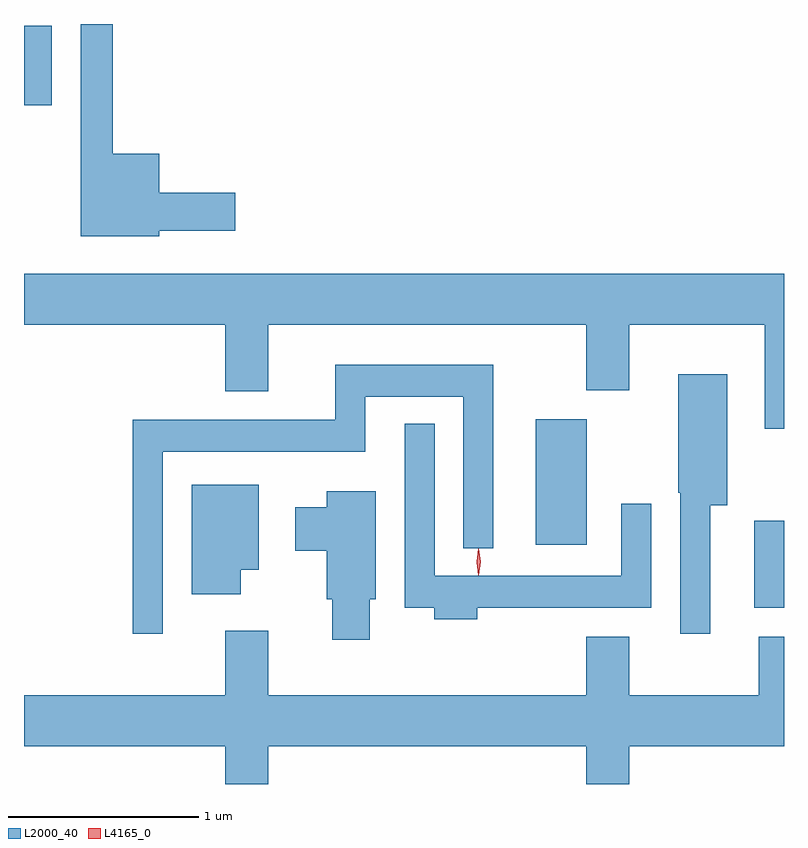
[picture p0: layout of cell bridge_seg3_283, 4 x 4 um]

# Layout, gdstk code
import gdstk
lib = gdstk.Library(unit=1e-6, precision=1e-09)
def R(c, l, rs):  # rectangles x0, y0, x1, y1
    for r in rs: c.add(gdstk.rectangle(r[:2], r[2:], *l))
def P(c, l, *ps):  # polygons
    for p in ps: c.add(gdstk.Polygon(p, *l))
L2000_40 = (2000, 40)
L4165_0 = (4165, 0)

bridge_seg3_283 = lib.new_cell('bridge_seg3_283')
R(bridge_seg3_283, L2000_40, [(1072.216,1122.306,1072.373,1122.764), (1071.066,1122.636,1071.334,1123.299), (1068.373,1124.951,1068.519,1125.369)])
P(bridge_seg3_283, L2000_40, [(1069.084,1124.291),(1069.484,1124.291),(1069.484,1124.489),(1069.084,1124.489),(1069.084,1124.694),(1068.839,1124.694),(1068.839,1125.378),(1068.671,1125.378),(1068.671,1124.261),(1069.084,1124.261)],
  [(1072.373,1124.064),(1068.373,1124.064),(1068.373,1123.796),(1069.431,1123.796),(1069.431,1123.446),(1069.659,1123.446),(1069.659,1123.796),(1071.331,1123.796),(1071.331,1123.451),(1071.559,1123.451),(1071.559,1123.796),(1072.271,1123.796),(1072.271,1123.248),(1072.373,1123.248)],
  [(1069.104,1123.126),(1070.169,1123.126),(1070.169,1123.416),(1070.686,1123.416),(1070.686,1122.618),(1070.844,1122.618),(1070.844,1123.584),(1070.011,1123.584),(1070.011,1123.294),(1068.946,1123.294),(1068.946,1122.168),(1069.104,1122.168)],
  [(1071.984,1122.846),(1072.074,1122.846),(1072.074,1123.534),(1071.816,1123.534),(1071.816,1122.91),(1071.826,1122.91),(1071.826,1122.168),(1071.984,1122.168)],
  [(1070.759,1122.306),(1071.674,1122.306),(1071.674,1122.853),(1071.516,1122.853),(1071.516,1122.474),(1070.534,1122.474),(1070.534,1123.273),(1070.376,1123.273),(1070.376,1122.306),(1070.531,1122.306),(1070.531,1122.246),(1070.759,1122.246)],
  [(1069.514,1122.506),(1069.609,1122.506),(1069.609,1122.954),(1069.256,1122.954),(1069.256,1122.376),(1069.514,1122.376)],
  [(1070.194,1122.351),(1070.224,1122.351),(1070.224,1122.919),(1069.966,1122.919),(1069.966,1122.834),(1069.801,1122.834),(1069.801,1122.606),(1069.966,1122.606),(1069.966,1122.351),(1069.996,1122.351),(1069.996,1122.136),(1070.194,1122.136)],
  [(1069.659,1121.576),(1071.331,1121.576),(1071.331,1121.378),(1071.559,1121.378),(1071.559,1121.576),(1072.373,1121.576),(1072.373,1122.154),(1072.241,1122.154),(1072.241,1121.844),(1071.559,1121.844),(1071.559,1122.154),(1071.331,1122.154),(1071.331,1121.844),(1069.659,1121.844),(1069.659,1122.184),(1069.431,1122.184),(1069.431,1121.844),(1068.373,1121.844),(1068.373,1121.576),(1069.431,1121.576),(1069.431,1121.378),(1069.659,1121.378)])
P(bridge_seg3_283, L4165_0, [(1070.765,1122.477),(1070.756,1122.547),(1070.765,1122.616),(1070.766,1122.616),(1070.766,1122.616),(1070.776,1122.547),(1070.766,1122.477),(1070.766,1122.477)],
  [(1070.765,1122.479),(1070.765,1122.48),(1070.755,1122.546),(1070.765,1122.612),(1070.765,1122.613),(1070.766,1122.612),(1070.775,1122.546),(1070.766,1122.48)])

lib.write_gds('bridge_seg3_283.gds')
